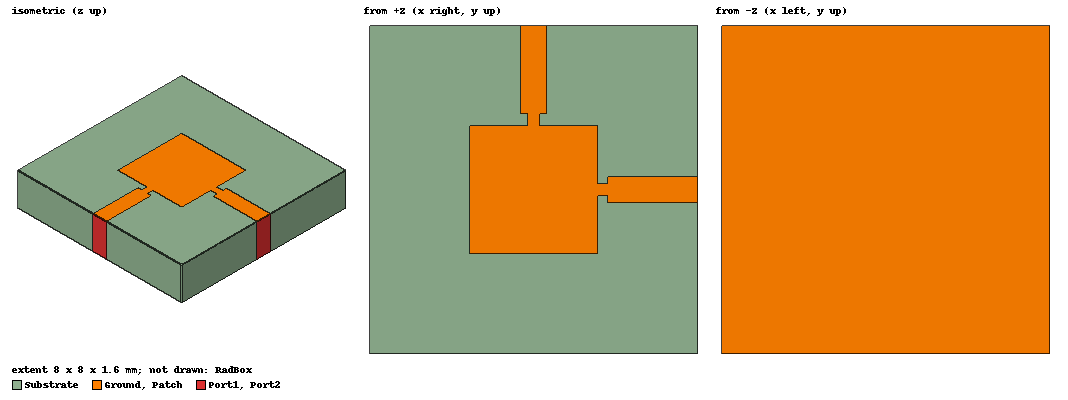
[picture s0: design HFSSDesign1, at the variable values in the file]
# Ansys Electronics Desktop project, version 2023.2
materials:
  vacuum: permittivity=1
  FR4_epoxy: permittivity=4.4 dielectric_loss_tangent=0.02
  air: permittivity=1.0006 permeability=1.0000004

design HFSSDesign1 (HFSS, HFSS Terminal Network, model units mm)
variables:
  Lp = 3.12mm
  Wp = 3.12mm
  Wt = 0.65mm
  Cp = 0.5mm
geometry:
  Ground = rectangle(corner=(-4mm, -4mm, 0mm), x_size=8mm, y_size=8mm)
  Substrate [FR4_epoxy] = box(corner=(-4mm, -4mm, 0mm), size=(8mm, 8mm, 1.6mm))
  Patch = rectangle(corner=(-Lp/2, -Wp/2, 1.6mm), x_size=Lp, y_size=Wp)
  Feed = rectangle(corner=(Lp/2, -Wt/2, 1.6mm), x_size=4mm-Lp/2, y_size=Wt)
  Patch.unite(Feed)
  Port1 = rectangle(corner=(4mm, -Wt/2, 1.6mm), y_size=Wt, z_size=-1.6mm)
  RadBox [air] = box(corner=(-8mm, -8mm, -4mm), size=(16mm, 16mm, 8mm))
  Cut1 = rectangle(corner=(Lp/2, -0.15mm, 1.6mm), x_size=0.25mm, y_size=-0.3mm)
  Cut2 = rectangle(corner=(Lp/2, 0.15mm, 1.6mm), x_size=0.25mm, y_size=0.3mm)
  Patch.subtract(Cut1)
  Patch.subtract(Cut2)
  Feed2 = rectangle(corner=(-Wt/2, Wp/2+0.3mm, 1.6mm), x_size=Wt, y_size=3.7mm-Wp/2)
  entrance = rectangle(corner=(-0.15mm, Wp/2, 1.6mm), x_size=0.3mm, y_size=0.3mm)
  Feed2.unite(entrance)
  Port2 = rectangle(corner=(Wt/2, 4mm, 1.6mm), z_size=-1.6mm, x_size=-Wt)
  Patch.unite(Feed2)
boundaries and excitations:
  PerfE1: Perfect E Objects=[Ground, Patch]
  Rad1: Radiation Objects=RadBox
  1: Lumped Port Objects=Port1 LumpedPortType=Modal Modes{Mode1{IntLine{(4, 0, 0) -> (4, 0, 1.6)} CharImp=Zpi}} Impedance=50ohm
  2: Lumped Port Objects=Port2 LumpedPortType=Modal Modes{Mode1{IntLine{(0, 4, 0) -> (0, 4, 1.6)} CharImp=Zpi}} Impedance=50ohm
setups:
  Setup1: HfssDriven Frequency=17GHz MaxDeltaS=0.02 MaximumPasses=6 MinimumPasses=1 MinimumConvergedPasses=1 PercentRefinement=30 BasisOrder=1 PortAccuracy=2 DrivenSolverType="Direct Solver"
    sweep Sweep: 12GHz to 22GHz, 401 points; Type=Fast SaveFields
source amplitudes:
  1:1: 1V 0deg
  2:1: 0V 0deg
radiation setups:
  Infinite Sphere1: Infinite Sphere Theta=0deg..180deg step 2deg Phi=-0deg..360deg step 2deg
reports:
  Terminal S Parameter Plot 1: dB(St(1,1)), dB(St(2,1)), dB(St(1,2)), dB(St(2,2)) vs Freq on Setup1 : Sweep; markers m1 at 16.525GHz
  Terminal S Parameter Chart 1: St(1,1), St(2,1), St(1,2), St(2,2) on Setup1 : Sweep [Freq=all]
  Active VSWR Chart 1: ActiveVSWR(1:1), ActiveVSWR(2:1) on Setup1 : Sweep [Freq=all]
  Gain Plot 1: GainTotal vs Phi, Theta on Setup1 : LastAdaptive, Infinite Sphere1 [Freq=17GHz]
  Antenna Params Plot 1: dBm(MaxrECoPolar), dBm(MaxrECrossPolar) vs Freq on Setup1 : LastAdaptive
  Antenna Params Plot 2: dB(MaxrECoPolar), dB(MaxrECrossPolar) vs Freq on Setup1 : LastAdaptive; markers m1 at 17GHz, m2 at 17GHz, m3 at 17GHz, m4 at 17GHz, m5 at 17GHz, MX1 at x=1.7004497e+10
  Terminal S Parameter Plot 2: dB(St(1,1)) vs Freq on Setup1 : Sweep
  Antenna Params Plot 4: dB(MaxrECoPolar) vs Freq on Setup1 : LastAdaptive
  Plot 1: dB(GainCoPolar)-dB(GainCrossPolar) vs Phi, Theta on Setup1 : LastAdaptive, Infinite Sphere1 [Freq=17GHz]
  Plot 1: dB(MaxrECoPolar)-dB(MaxrECrossPolar) vs Freq on Setup1 : LastAdaptive
